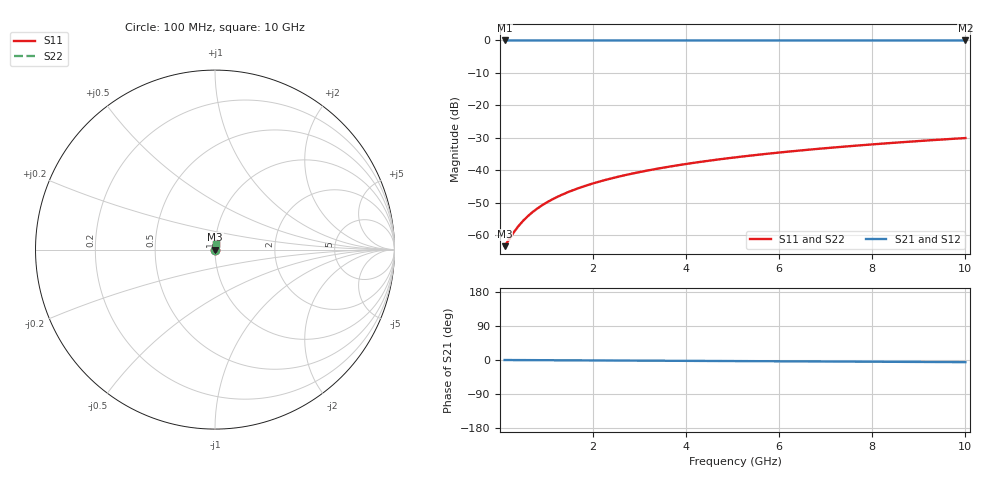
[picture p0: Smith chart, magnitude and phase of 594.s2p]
# Hz S RI R 50.00
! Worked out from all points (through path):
!   100 points, 100 MHz to 10 GHz, reference 50 ohm
!   highest |S21| = -0.01 dB at 100 MHz (marker M1); lowest = 0.0 dB at 10 GHz (marker M2)
!   lowest |S11| = -63.3 dB at 100 MHz (marker M3), VSWR 1.00, Z = 50.1 + j0.0313 ohm
!   |S11| at or under -10 dB: start of sweep to end of sweep
!   |S22| runs from -63.3 to -30.0 dB; largest |S21 - S12| = 1e-15
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1e8  0.000606 0.000313  0.9994 -0.00098  0.9994 -0.00098  0.000606 0.000313
3e8  0.000615 0.000938  0.9994 -0.00294  0.9994 -0.00294  0.000615 0.000938
4e8  0.000619 0.00125  0.9994 -0.00392  0.9994 -0.00392  0.000619 0.00125
5e8  0.000623 0.00156  0.9994 -0.0049  0.9994 -0.0049  0.000623 0.00156
6e8  0.000628 0.00188  0.9994 -0.00588  0.9994 -0.00588  0.000628 0.00188
7e8  0.000634 0.00219  0.9993 -0.00686  0.9993 -0.00686  0.000634 0.00219
8e8  0.00064 0.0025  0.9993 -0.00784  0.9993 -0.00784  0.00064 0.0025
1e9  0.000653 0.00313  0.9993 -0.0098  0.9993 -0.0098  0.000653 0.00313
1.2e9  0.000668 0.00375  0.9993 -0.0118  0.9993 -0.0118  0.000668 0.00375
1.5e9  0.000695 0.00469  0.9992 -0.0147  0.9992 -0.0147  0.000695 0.00469
1.8e9  0.000728 0.00563  0.9992 -0.0176  0.9992 -0.0176  0.000728 0.00563
2.1e9  0.000766 0.00656  0.9991 -0.0206  0.9991 -0.0206  0.000766 0.00656
2.5e9  0.000824 0.00781  0.999 -0.0245  0.999 -0.0245  0.000824 0.00781
2.9e9  0.000892 0.00906  0.9989 -0.0284  0.9989 -0.0284  0.000892 0.00906
3.4e9  0.000991 0.0106  0.9987 -0.0334  0.9987 -0.0334  0.000991 0.0106
4.2e9  0.00118 0.0131  0.9984 -0.0412  0.9984 -0.0412  0.00118 0.0131
5.1e9  0.00144 0.0159  0.9979 -0.0501  0.9979 -0.0501  0.00144 0.0159
5.9e9  0.00172 0.0184  0.9975 -0.058  0.9975 -0.058  0.00172 0.0184
6.7e9  0.00203 0.0209  0.9969 -0.0658  0.9969 -0.0658  0.00203 0.0209
7.5e9  0.00239 0.0234  0.9963 -0.0737  0.9963 -0.0737  0.00239 0.0234
8.4e9  0.00283 0.0262  0.9955 -0.0826  0.9955 -0.0826  0.00283 0.0262
1e10  0.00376 0.0312  0.9939 -0.0984  0.9939 -0.0984  0.00376 0.0312
